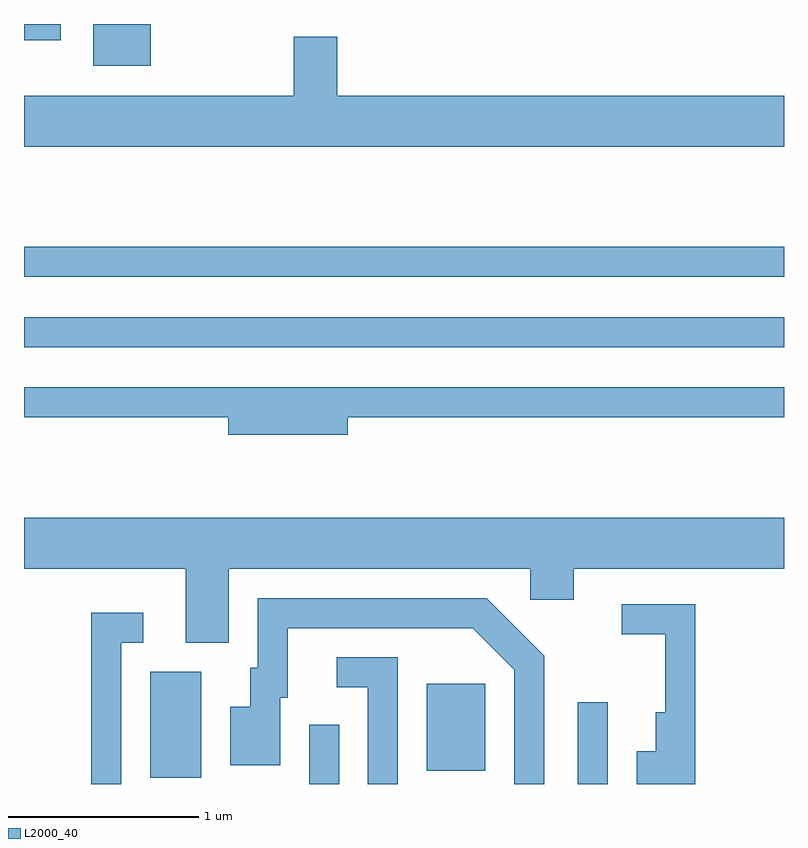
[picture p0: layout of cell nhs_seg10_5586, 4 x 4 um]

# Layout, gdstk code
import gdstk
lib = gdstk.Library(unit=1e-6, precision=1e-09)
def R(c, l, rs):  # rectangles x0, y0, x1, y1
    for r in rs: c.add(gdstk.rectangle(r[:2], r[2:], *l))
def P(c, l, *ps):  # polygons
    for p in ps: c.add(gdstk.Polygon(p, *l))
L2000_40 = (2000, 40)

nhs_seg10_5586 = lib.new_cell('nhs_seg10_5586')
R(nhs_seg10_5586, L2000_40, [(351.111,2150.522,351.269,2150.833), (352.526,2150.522,352.684,2150.953), (350.276,2150.556,350.544,2151.114), (351.731,2150.591,352.039,2151.049), (349.611,2152.821,353.611,2152.979), (349.611,2153.191,353.611,2153.349), (349.976,2154.301,350.279,2154.522), (349.611,2154.436,349.804,2154.522)])
P(nhs_seg10_5586, L2000_40, [(353.611,2154.144),(351.259,2154.144),(351.259,2154.454),(351.031,2154.454),(351.031,2154.144),(349.611,2154.144),(349.611,2153.876),(353.611,2153.876)],
  [(351.314,2152.451),(353.611,2152.451),(353.611,2152.609),(349.611,2152.609),(349.611,2152.451),(350.686,2152.451),(350.686,2152.361),(351.314,2152.361)],
  [(350.689,2151.656),(352.276,2151.656),(352.276,2151.491),(352.504,2151.491),(352.504,2151.656),(353.611,2151.656),(353.611,2151.924),(349.611,2151.924),(349.611,2151.656),(350.461,2151.656),(350.461,2151.266),(350.689,2151.266)],
  [(352.349,2151.197),(352.047,2151.499),(350.841,2151.499),(350.841,2151.134),(350.801,2151.134),(350.801,2150.929),(350.696,2150.929),(350.696,2150.621),(350.959,2150.621),(350.959,2150.976),(350.999,2150.976),(350.999,2151.341),(351.974,2151.341),(352.191,2151.124),(352.191,2150.522),(352.349,2150.522)],
  [(353.144,2151.469),(352.758,2151.469),(352.758,2151.311),(352.986,2151.311),(352.986,2150.899),(352.936,2150.899),(352.936,2150.694),(352.836,2150.694),(352.836,2150.522),(353.144,2150.522)],
  [(350.124,2151.266),(350.238,2151.266),(350.238,2151.424),(349.966,2151.424),(349.966,2150.522),(350.124,2150.522)],
  [(351.579,2151.189),(351.258,2151.189),(351.258,2151.031),(351.421,2151.031),(351.421,2150.522),(351.579,2150.522)])

lib.write_gds('nhs_seg10_5586.gds')
